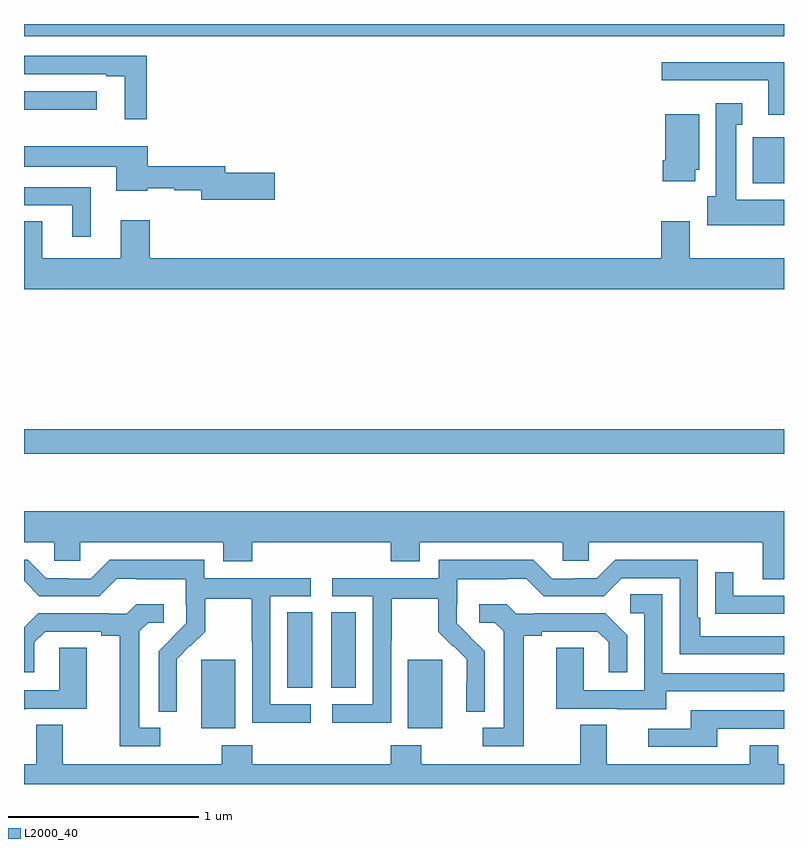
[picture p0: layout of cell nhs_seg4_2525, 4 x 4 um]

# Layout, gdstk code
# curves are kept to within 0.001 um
import gdstk
lib = gdstk.Library(unit=1e-6, precision=1e-09)
def R(c, l, rs):  # rectangles x0, y0, x1, y1
    for r in rs: c.add(gdstk.rectangle(r[:2], r[2:], *l))
def P(c, l, *ps):  # polygons
    for p in ps: c.add(gdstk.Polygon(p, *l))
L2000_40 = (2000, 40)

nhs_seg4_2525 = lib.new_cell('nhs_seg4_2525')
R(nhs_seg4_2525, L2000_40, [(243.932,777.194,244.111,777.555), (245.021,777.194,245.2,777.555), (244.385,777.406,244.516,777.803), (244.616,777.406,244.747,777.803), (243,778.638,247,778.766), (246.836,780.062,247,780.304), (243,780.449,243.382,780.546), (243,780.836,247,780.9)])
P(nhs_seg4_2525, L2000_40, [(243.647,780.732),(243,780.732),(243,780.636),(243.434,780.636),(243.434,780.624),(243.53,780.624),(243.53,780.399),(243.647,780.399)],
  [(247,780.7),(246.357,780.7),(246.357,780.603),(246.917,780.603),(246.917,780.422),(247,780.422)],
  [(247,779.974),(246.748,779.974),(246.748,780.371),(246.781,780.371),(246.781,780.484),(246.641,780.484),(246.641,779.994),(246.596,779.994),(246.596,779.84),(247,779.84)],
  [(246.532,780.132),(246.553,780.132),(246.553,780.424),(246.374,780.424),(246.374,780.184),(246.362,780.184),(246.362,780.072),(246.532,780.072)],
  [(244.321,780.116),(244.06,780.116),(244.06,780.152),(243.652,780.152),(243.652,780.256),(243,780.256),(243,780.149),(243.485,780.149),(243.485,780.023),(243.648,780.023),(243.648,780.035),(243.792,780.035),(243.792,780.024),(243.932,780.024),(243.932,779.974),(244.321,779.974)],
  [(243.352,780.042),(243,780.042),(243,779.946),(243.254,779.946),(243.254,779.781),(243.352,779.781)],
  [(247,779.668),(246.505,779.668),(246.505,779.863),(246.353,779.863),(246.353,779.668),(243.662,779.668),(243.662,779.866),(243.509,779.866),(243.509,779.668),(243.097,779.668),(243.097,779.861),(243,779.861),(243,779.504),(247,779.504)],
  [(247,778.336),(243,778.336),(243,778.172),(243.159,778.172),(243.159,778.074),(243.297,778.074),(243.297,778.172),(244.049,778.172),(244.049,778.073),(244.202,778.073),(244.202,778.172),(244.931,778.172),(244.931,778.073),(245.083,778.073),(245.083,778.172),(245.835,778.172),(245.835,778.074),(245.973,778.074),(245.973,778.172),(246.887,778.172),(246.887,777.978),(247,777.978)],
  [(244.932,777.652),(244.935,777.652),(244.935,777.876),(245.179,777.876),(245.179,777.701),(245.256,777.624),(245.259,777.627),(245.33,777.557),(245.33,777.434),(245.328,777.434),(245.328,777.28),(245.424,777.28),(245.424,777.598),(245.278,777.746),(245.278,777.843),(245.28,777.843),(245.28,777.977),(245.543,777.977),(245.543,777.981),(245.643,777.981),(245.736,777.888),(246.051,777.888),(246.147,777.984),(246.45,777.984),(246.45,777.582),(247,777.582),(247,777.678),(246.559,777.678),(246.559,777.775),(246.546,777.775),(246.546,778.08),(246.111,778.08),(246.015,777.984),(245.897,777.984),(245.897,777.981),(245.781,777.981),(245.681,778.081),(245.184,778.081),(245.184,777.984),(244.623,777.984),(244.623,777.888),(244.836,777.888),(244.836,777.321),(244.623,777.321),(244.623,777.223),(244.932,777.223)],
  [(244.51,777.321),(244.296,777.321),(244.296,777.888),(244.51,777.888),(244.51,777.984),(243.948,777.984),(243.948,778.081),(243.451,778.081),(243.351,777.981),(243.236,777.981),(243.236,777.984),(243.117,777.984),(243.021,778.08),(243,778.08),(243,777.969),(243.081,777.888),(243.396,777.888),(243.489,777.981),(243.589,777.981),(243.589,777.977),(243.852,777.977),(243.852,777.843),(243.854,777.843),(243.854,777.746),(243.708,777.598),(243.708,777.28),(243.804,777.28),(243.803,777.557),(243.873,777.627),(243.876,777.624),(243.953,777.701),(243.953,777.876),(244.198,777.876),(244.198,777.652),(244.2,777.652),(244.2,777.223),(244.51,777.223)],
  [(247,777.891),(246.733,777.891),(246.733,778.015),(246.637,778.015),(246.637,777.796),(246.739,777.796),(246.739,777.795),(247,777.795)],
  [(246.379,777.387),(247,777.387),(247,777.483),(246.36,777.483),(246.36,777.899),(246.192,777.899),(246.192,777.798),(246.264,777.798),(246.264,777.393),(245.946,777.393),(245.946,777.617),(245.801,777.617),(245.801,777.297),(246.125,777.297),(246.125,777.293),(246.379,777.293)],
  [(245.629,777.68),(245.725,777.68),(245.725,777.702),(246.02,777.702),(246.077,777.645),(246.077,777.489),(246.174,777.489),(246.174,777.682),(246.058,777.798),(245.686,777.798),(245.686,777.795),(245.592,777.795),(245.54,777.847),(245.397,777.847),(245.397,777.75),(245.478,777.75),(245.525,777.703),(245.525,777.195),(245.415,777.195),(245.415,777.099),(245.629,777.099)],
  [(243.718,777.195),(243.607,777.195),(243.607,777.703),(243.654,777.75),(243.736,777.75),(243.736,777.847),(243.592,777.847),(243.54,777.795),(243.446,777.795),(243.446,777.798),(243.074,777.798),(243,777.724),(243,777.489),(243.055,777.489),(243.055,777.645),(243.112,777.702),(243.407,777.702),(243.407,777.68),(243.503,777.68),(243.503,777.099),(243.718,777.099)],
  [(243.007,777.297),(243.331,777.297),(243.331,777.617),(243.186,777.617),(243.186,777.393),(243,777.393),(243,777.293),(243.007,777.293)],
  [(246.649,777.192),(247,777.192),(247,777.288),(246.509,777.288),(246.509,777.192),(246.285,777.192),(246.285,777.096),(246.649,777.096)],
  [(247,777.004),(246.969,777.004),(246.969,777.103),(246.821,777.103),(246.821,777.004),(246.067,777.004),(246.067,777.212),(245.927,777.212),(245.927,777.004),(245.091,777.004),(245.091,777.103),(244.931,777.103),(244.931,777.004),(244.202,777.004),(244.202,777.103),(244.042,777.103),(244.042,777.004),(243.205,777.004),(243.205,777.212),(243.065,777.212),(243.065,777.004),(243,777.004),(243,776.9),(247,776.9)])

lib.write_gds('nhs_seg4_2525.gds')
